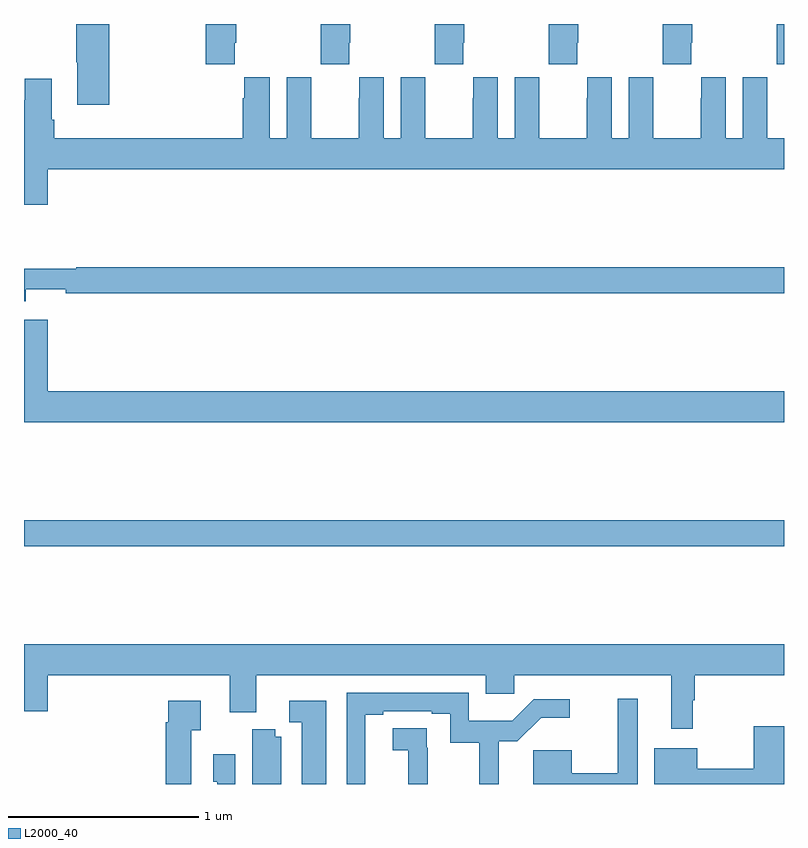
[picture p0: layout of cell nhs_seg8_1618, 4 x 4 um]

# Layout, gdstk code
import gdstk
lib = gdstk.Library(unit=1e-6, precision=1e-09)
def R(c, l, rs):  # rectangles x0, y0, x1, y1
    for r in rs: c.add(gdstk.rectangle(r[:2], r[2:], *l))
def P(c, l, *ps):  # polygons
    for p in ps: c.add(gdstk.Polygon(p, *l))
L2000_40 = (2000, 40)

nhs_seg8_1618 = lib.new_cell('nhs_seg8_1618')
R(nhs_seg8_1618, L2000_40, [(213,1145.152,217,1145.288)])
P(nhs_seg8_1618, L2000_40, [(217,1147.9),(216.961,1147.9),(216.961,1147.801),(216.963,1147.801),(216.963,1147.689),(217,1147.689)],
  [(216.513,1147.801),(216.516,1147.801),(216.516,1147.9),(216.361,1147.9),(216.361,1147.801),(216.363,1147.801),(216.363,1147.689),(216.513,1147.689)],
  [(213.449,1147.9),(213.274,1147.9),(213.274,1147.699),(213.281,1147.699),(213.281,1147.476),(213.449,1147.476)],
  [(214.109,1147.801),(214.116,1147.801),(214.116,1147.9),(213.956,1147.9),(213.956,1147.689),(214.109,1147.689)],
  [(214.713,1147.801),(214.716,1147.801),(214.716,1147.9),(214.561,1147.9),(214.561,1147.801),(214.563,1147.801),(214.563,1147.689),(214.713,1147.689)],
  [(215.313,1147.801),(215.316,1147.801),(215.316,1147.9),(215.161,1147.9),(215.161,1147.801),(215.163,1147.801),(215.163,1147.689),(215.313,1147.689)],
  [(215.913,1147.801),(215.916,1147.801),(215.916,1147.9),(215.761,1147.9),(215.761,1147.801),(215.763,1147.801),(215.763,1147.689),(215.913,1147.689)],
  [(217,1147.3),(216.913,1147.3),(216.913,1147.508),(216.912,1147.508),(216.912,1147.621),(216.782,1147.621),(216.782,1147.3),(216.694,1147.3),(216.694,1147.621),(216.564,1147.621),(216.564,1147.508),(216.563,1147.508),(216.563,1147.3),(216.313,1147.3),(216.313,1147.508),(216.312,1147.508),(216.312,1147.621),(216.182,1147.621),(216.182,1147.3),(216.094,1147.3),(216.094,1147.621),(215.964,1147.621),(215.964,1147.508),(215.963,1147.508),(215.963,1147.3),(215.713,1147.3),(215.713,1147.508),(215.712,1147.508),(215.712,1147.621),(215.582,1147.621),(215.582,1147.3),(215.494,1147.3),(215.494,1147.621),(215.364,1147.621),(215.364,1147.508),(215.363,1147.508),(215.363,1147.3),(215.113,1147.3),(215.113,1147.508),(215.112,1147.508),(215.112,1147.621),(214.982,1147.621),(214.982,1147.3),(214.894,1147.3),(214.894,1147.621),(214.764,1147.621),(214.764,1147.508),(214.763,1147.508),(214.763,1147.3),(214.513,1147.3),(214.513,1147.508),(214.512,1147.508),(214.512,1147.621),(214.382,1147.621),(214.382,1147.3),(214.294,1147.3),(214.294,1147.621),(214.16,1147.621),(214.16,1147.508),(214.151,1147.508),(214.151,1147.3),(213.158,1147.3),(213.158,1147.396),(213.145,1147.396),(213.145,1147.612),(213.005,1147.612),(213.005,1147.499),(213,1147.499),(213,1146.948),(213.124,1146.948),(213.124,1147.136),(217,1147.136)],
  [(213.01,1146.503),(213.22,1146.503),(213.22,1146.484),(217,1146.484),(217,1146.62),(213.275,1146.62),(213.275,1146.613),(213,1146.613),(213,1146.442),(213.01,1146.442)],
  [(217,1145.968),(213.124,1145.968),(213.124,1146.343),(213,1146.343),(213,1145.804),(217,1145.804)],
  [(216.521,1144.34),(216.529,1144.34),(216.529,1144.472),(217,1144.472),(217,1144.636),(213,1144.636),(213,1144.284),(213.124,1144.284),(213.124,1144.472),(214.082,1144.472),(214.082,1144.278),(214.222,1144.278),(214.222,1144.472),(215.429,1144.472),(215.429,1144.374),(215.581,1144.374),(215.581,1144.472),(216.407,1144.472),(216.407,1144.191),(216.521,1144.191)],
  [(214.797,1144.001),(214.795,1144.001),(214.795,1144.264),(214.891,1144.264),(214.891,1144.284),(215.147,1144.284),(215.147,1144.27),(215.244,1144.27),(215.244,1144.117),(215.395,1144.117),(215.395,1143.9),(215.498,1143.9),(215.498,1144.125),(215.597,1144.125),(215.723,1144.25),(215.872,1144.25),(215.872,1144.347),(215.682,1144.347),(215.569,1144.234),(215.34,1144.234),(215.34,1144.38),(214.698,1144.38),(214.698,1143.9),(214.797,1143.9)],
  [(216.229,1144.348),(216.125,1144.348),(216.125,1143.956),(215.884,1143.956),(215.884,1144.077),(215.681,1144.077),(215.681,1143.9),(216.229,1143.9)],
  [(213.88,1144.183),(213.931,1144.183),(213.931,1144.339),(213.758,1144.339),(213.758,1144.226),(213.746,1144.226),(213.746,1143.9),(213.88,1143.9)],
  [(214.591,1144.339),(214.395,1144.339),(214.395,1144.224),(214.463,1144.224),(214.463,1143.9),(214.591,1143.9)],
  [(217,1144.204),(216.841,1144.204),(216.841,1143.98),(216.544,1143.98),(216.544,1144.087),(216.317,1144.087),(216.317,1143.9),(217,1143.9)],
  [(215.126,1144.091),(215.12,1144.091),(215.12,1144.193),(214.941,1144.193),(214.941,1144.078),(215.023,1144.078),(215.023,1143.9),(215.126,1143.9)],
  [(214.354,1144.15),(214.322,1144.15),(214.322,1144.187),(214.202,1144.187),(214.202,1143.9),(214.354,1143.9)],
  [(214.113,1144.057),(213.996,1144.057),(213.996,1143.912),(214.017,1143.912),(214.017,1143.9),(214.113,1143.9)])

lib.write_gds('nhs_seg8_1618.gds')
